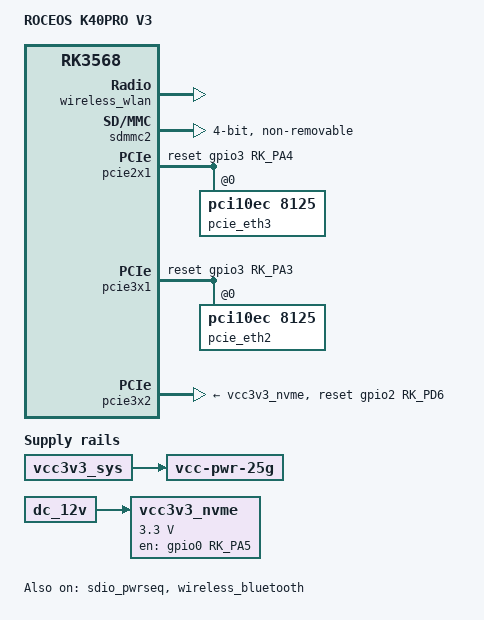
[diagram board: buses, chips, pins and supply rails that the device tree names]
// SPDX-License-Identifier: (GPL-2.0+ OR MIT)
/*
 * Copyright (c) 2020 Rockchip Electronics Co., Ltd.
 * Copyright (c) 2022 Flippy <flippy@sina.com>
 */

/dts-v1/;

#include "rk3568-roc-k40pro.dtsi"

/ {
	compatible = "roceos,k40prov3", "rockchip,rk3568";
	model = "ROCEOS K40PRO V3";
	eth_order =  "fe010000.ethernet,fe2a0000.ethernet,0001:11:00.0,0000:01:00.0";
	kdebug = "0";
	hwmodel_id = "K40PROV3";
	r8168_led = <0x708>;
	hw_support = "hdmi";

	aliases {
		ethernet2 = &pcie_eth2;
		ethernet3 = &pcie_eth3;
	};

	pwr-net-25g {
		compatible = "regulator-fixed";
		pinctrl-names = "default";
		pinctrl-0 = <&pwr_25g_en>;
		regulator-name = "vcc-pwr-25g";
		regulator-always-on;
		vin-supply = <&vcc3v3_sys>;
	};

	vcc3v3_nvme: vcc3v3-nvme-regulator {
		compatible = "regulator-fixed";
		regulator-name = "vcc3v3_nvme";
		regulator-min-microvolt = <3300000>;
		regulator-max-microvolt = <3300000>;
		enable-active-high;
		gpio = <&gpio0 RK_PA5 GPIO_ACTIVE_HIGH>;
		vin-supply = <&dc_12v>;
		pinctrl-names = "default";
		pinctrl-0 = <&vcc3v3_nvme_en>;
	};
};

//配置WL_REG_ON引脚
&sdio_pwrseq {
	status = "okay";
	reset-gpios = <&gpio3 RK_PD5 GPIO_ACTIVE_LOW>;
	post-power-on-delay-ms = <200>;
};

// 配置WL_HOST_WAKE引脚，OOB模式时，该引脚必须配置
&wireless_wlan {
	pinctrl-names = "default";
	pinctrl-0 = <&wifi_host_wake_irq>;
	WIFI,host_wake_irq = <&gpio3 RK_PD4 GPIO_ACTIVE_HIGH>;
	wifi_chip_type = "ap6255";
	status = "okay";
};

&wireless_bluetooth {
	compatible = "bluetooth-platdata";
	clocks = <&rk809 1>;
	clock-names = "ext_clock";
	//wifi-bt-power-toggle;
	uart_rts_gpios = <&gpio2 RK_PB1 GPIO_ACTIVE_LOW>;
	pinctrl-names = "default", "rts_gpio";
	pinctrl-0 = <&uart8m0_rtsn>;
	pinctrl-1 = <&uart8_gpios>;
	BT,reset_gpio    = <&gpio4 RK_PC4 GPIO_ACTIVE_HIGH>;
	BT,wake_gpio     = <&gpio0 RK_PD5 GPIO_ACTIVE_HIGH>;
	BT,wake_host_irq = <&gpio0 RK_PD4 GPIO_ACTIVE_HIGH>;
	status = "okay";
};

// wifi
&sdmmc2 {
	max-frequency = <150000000>;
	supports-sdio;
	bus-width = <4>;
	disable-wp;
	cap-sd-highspeed;
	cap-sdio-irq;
	keep-power-in-suspend;
	mmc-pwrseq = <&sdio_pwrseq>;
	non-removable;
	pinctrl-names = "default";
	pinctrl-0 = <&sdmmc2m0_bus4 &sdmmc2m0_cmd &sdmmc2m0_clk>;
	sd-uhs-sdr104;
	status = "okay";
};

&pcie2x1 {
	rockchip,init-delay-ms = <100>;
	reset-gpios = <&gpio3 RK_PA4 GPIO_ACTIVE_HIGH>;
	status = "okay";

	pcie@00 {
		reg = <0x00000000 0 0 0 0>;
		#address-cells = <3>;
		#size-cells = <2>;

		pcie_eth3: pcie-eth@00,0 {
			compatible = "pci10ec,8125";
			reg = <0x000000 0 0 0 0>;

			realtek,led-data = <0 0 0x200 0x02B>;
			realtek,led-feature = /bits/ 8 <0xC0>;
		};
	};
};

&pcie3x1 {
	reset-gpios = <&gpio3 RK_PA3 GPIO_ACTIVE_HIGH>;
	status = "okay";

	pcie@10 {
		reg = <0x00100000 0 0 0 0>;
		#address-cells = <3>;
		#size-cells = <2>;

		pcie_eth2: pcie-eth@10,0 {
			compatible = "pci10ec,8125";
			reg = <0x000000 0 0 0 0>;

			realtek,led-data = <0 0 0x200 0x02B>;
			realtek,led-feature = /bits/ 8 <0xC0>;
		};
	};
};

&pcie3x2 {
	reset-gpios = <&gpio2 RK_PD6 GPIO_ACTIVE_HIGH>;
	vpcie3v3-supply = <&vcc3v3_nvme>;
	status = "okay";
};

&pinctrl {
	pwr-25g {
		pwr_25g_en: pwr-25g-en {
			rockchip,pins = <3 RK_PB1 RK_FUNC_GPIO &pcfg_output_high>;
		};
	};
	nvme {
		vcc3v3_nvme_en: vcc3v3-nvme-en {
			rockchip,pins = <0 RK_PA5 RK_FUNC_GPIO &pcfg_pull_none>;
		};
	};
};
